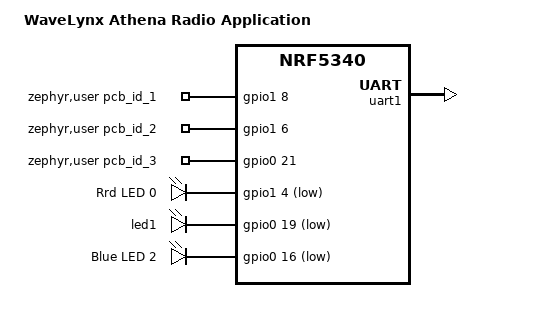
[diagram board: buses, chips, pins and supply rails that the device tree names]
/*
 * Copyright (c) 2020 Nordic Semiconductor ASA
 *
 * SPDX-License-Identifier: Apache-2.0
 */

/dts-v1/;
#include <nordic/nrf5340_cpuapp_qkaa.dtsi>
#include "nrf5340_cpuapp_common.dtsi"

/ {
	model = "WaveLynx Athena Radio Application";
	compatible = "nordic,nrf5340-dk-nrf5340-cpuapp";

	chosen {
		zephyr,sram = &sram0_image;
		zephyr,flash = &flash0;
		zephyr,code-partition = &slot0_partition;
		zephyr,sram-secure-partition = &sram0_s;
		zephyr,sram-non-secure-partition = &sram0_ns;
	};

	zephyr,user {
		pcb_id_1-gpios = <&gpio1 8 0>;
		pcb_id_2-gpios = <&gpio1 6 0>;
		pcb_id_3-gpios = <&gpio0 21 0>;
	};
};

&led0 {
	gpios = <&gpio1 4 GPIO_ACTIVE_LOW>;
	label = "Rrd LED 0";
};

&led1 {
	gpios = <&gpio0 19 GPIO_ACTIVE_LOW>;
};

&led2 {
	gpios = <&gpio0 16 GPIO_ACTIVE_LOW>;
	label = "Blue LED 2";
};

buzzer: &pwm_led0 {
	pwms = <&pwm0 0 PWM_HZ(2000) PWM_POLARITY_INVERTED>;
};

&pwm0_default {
	group1 {
		psels = <NRF_PSEL(PWM_OUT0, 0, 10)>;
	};
};

&gpio_fwd {
	status = "okay";
	uart {
		gpios = <&gpio0 14 0>, <&gpio0 4 0>, <&gpio0 6 0>, <&gpio0 7 0>;
	};
};
/delete-node/ &{/buttons/};

&uart1 {
	status = "okay";
};

&uart0 {
	status = "disabled";
};

&i2c1 {
	status = "disabled";
};

&uart1_default {
	group1 {
		psels = <NRF_PSEL(UART_TX, 1, 7)>, <NRF_PSEL(UART_RTS, 0, 27)>;
	};

	group2 {
		psels = <NRF_PSEL(UART_RX, 0, 25)>;
	};
};

&uart1_sleep {
	group1 {
		psels = <NRF_PSEL(UART_TX, 1, 7)>,
				<NRF_PSEL(UART_RX, 0, 25)>,
				<NRF_PSEL(UART_RTS, 0, 27)>;
	};
};
/delete-node/ &led3;

&uart0_default {
	group1 {
		psels = <NRF_PSEL(UART_RTS, 0, 19)>;
	};

	group2 {
		psels = <NRF_PSEL(UART_CTS, 0, 21)>;
		/delete-property/ bias-pull-up;
	};
};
